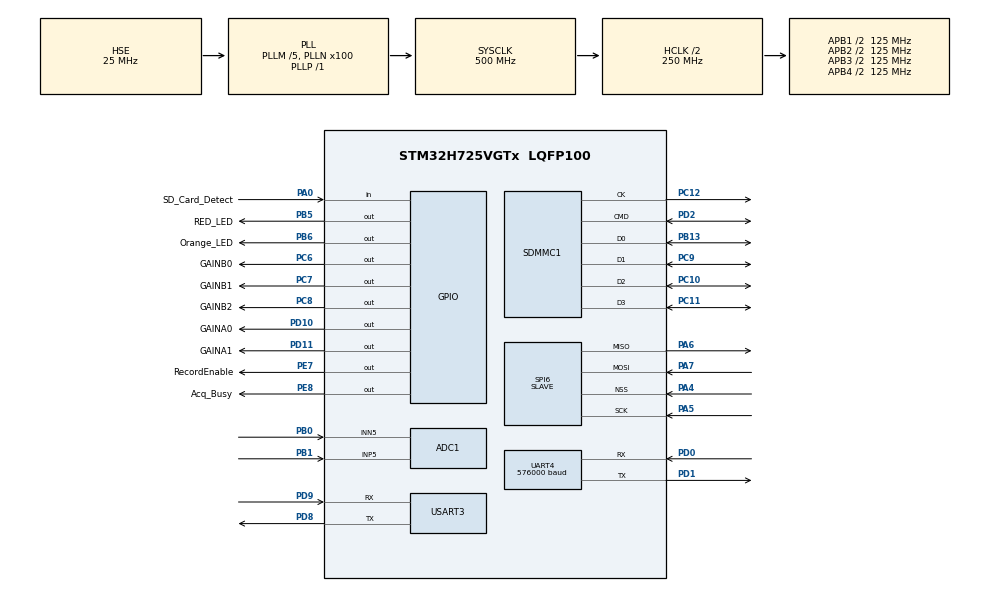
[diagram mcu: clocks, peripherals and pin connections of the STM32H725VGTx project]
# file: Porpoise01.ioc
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ADC1.Channel-0\#ChannelRegularConversion=ADC_CHANNEL_5
ADC1.ClockPrescaler=ADC_CLOCK_ASYNC_DIV4
ADC1.ContinuousConvMode=ENABLE
ADC1.ConversionDataManagement=ADC_CONVERSIONDATA_DMA_CIRCULAR
ADC1.NbrOfConversionFlag=1
ADC1.OffsetNumber-0\#ChannelRegularConversion=ADC_OFFSET_NONE
ADC1.OffsetSignedSaturation-0\#ChannelRegularConversion=DISABLE
ADC1.Rank-0\#ChannelRegularConversion=1
ADC1.SamplingTime-0\#ChannelRegularConversion=ADC_SAMPLETIME_1CYCLE_5
ADC1.SingleDiff-0\#ChannelRegularConversion=ADC_DIFFERENTIAL_ENDED
ADC1.master=1
CORTEX_M7.default_mode_Activation=1
Dma.ADC1.0.Direction=DMA_PERIPH_TO_MEMORY
Dma.ADC1.0.EventEnable=DISABLE
Dma.ADC1.0.FIFOMode=DMA_FIFOMODE_DISABLE
Dma.ADC1.0.Instance=DMA1_Stream0
Dma.ADC1.0.MemDataAlignment=DMA_MDATAALIGN_HALFWORD
Dma.ADC1.0.MemInc=DMA_MINC_ENABLE
Dma.ADC1.0.Mode=DMA_CIRCULAR
Dma.ADC1.0.PeriphDataAlignment=DMA_PDATAALIGN_HALFWORD
Dma.ADC1.0.PeriphInc=DMA_PINC_DISABLE
Dma.ADC1.0.Polarity=HAL_DMAMUX_REQ_GEN_RISING
Dma.ADC1.0.Priority=DMA_PRIORITY_HIGH
Dma.ADC1.0.RequestNumber=1
Dma.ADC1.0.SignalID=NONE
Dma.ADC1.0.SyncEnable=DISABLE
Dma.ADC1.0.SyncPolarity=HAL_DMAMUX_SYNC_NO_EVENT
Dma.ADC1.0.SyncRequestNumber=1
Dma.ADC1.0.SyncSignalID=NONE
Dma.Request0=ADC1
FATFS.BSP.number=1
FATFS.USE_DMA_CODE_SD=1
FATFS._MAX_SS=4096
FATFS._USE_CHMOD=1
FATFS._USE_FIND=1
FATFS._USE_LABEL=1
FATFS._USE_LFN=1
FATFS0.BSP.STBoard=false
FATFS0.BSP.api=Unknown
FATFS0.BSP.instance=PA0
FATFS0.BSP.ip=GPIO
FATFS0.BSP.mode=Input
FATFS0.BSP.name=Detect_SDIO
FATFS0.BSP.solution=PA0
Mcu.Family=STM32H7
Mcu.Name=STM32H725VGTx
Mcu.Package=LQFP100
Mdma.MDMA_Channel0.DMA1_Stream0_TC.0.BlockCount=0
Mdma.MDMA_Channel0.DMA1_Stream0_TC.0.BlockDataLength=0
Mdma.MDMA_Channel0.DMA1_Stream0_TC.0.BufferTransferLength=1
Mdma.MDMA_Channel0.DMA1_Stream0_TC.0.CircularMode=MDMA_LINEAR_LIST
Mdma.MDMA_Channel0.DMA1_Stream0_TC.0.DataAlignment=MDMA_DATAALIGN_PACKENABLE
Mdma.MDMA_Channel0.DMA1_Stream0_TC.0.DestBlockAddressOffset=0
Mdma.MDMA_Channel0.DMA1_Stream0_TC.0.DestBurst=MDMA_DEST_BURST_SINGLE
Mdma.MDMA_Channel0.DMA1_Stream0_TC.0.DestDataSize=MDMA_DEST_DATASIZE_BYTE
Mdma.MDMA_Channel0.DMA1_Stream0_TC.0.DestinationInc=MDMA_DEST_INC_BYTE
Mdma.MDMA_Channel0.DMA1_Stream0_TC.0.DstAddress=0
Mdma.MDMA_Channel0.DMA1_Stream0_TC.0.Endianness=MDMA_LITTLE_ENDIANNESS_PRESERVE
Mdma.MDMA_Channel0.DMA1_Stream0_TC.0.Instance=MDMA_Channel0
Mdma.MDMA_Channel0.DMA1_Stream0_TC.0.MaskAddress=0
Mdma.MDMA_Channel0.DMA1_Stream0_TC.0.MaskData=0
Mdma.MDMA_Channel0.DMA1_Stream0_TC.0.Priority=MDMA_PRIORITY_LOW
Mdma.MDMA_Channel0.DMA1_Stream0_TC.0.Rank=First
Mdma.MDMA_Channel0.DMA1_Stream0_TC.0.SourceBlockAddressOffset=0
Mdma.MDMA_Channel0.DMA1_Stream0_TC.0.SourceBurst=MDMA_SOURCE_BURST_SINGLE
Mdma.MDMA_Channel0.DMA1_Stream0_TC.0.SourceDataSize=MDMA_SRC_DATASIZE_BYTE
Mdma.MDMA_Channel0.DMA1_Stream0_TC.0.SourceInc=MDMA_SRC_INC_BYTE
Mdma.MDMA_Channel0.DMA1_Stream0_TC.0.SrcAddress=0
Mdma.MDMA_Channel0.DMA1_Stream0_TC.0.TransferTriggerMode=MDMA_BUFFER_TRANSFER
Mdma.MDMA_Channel0.Request0=DMA1_Stream0_TC
Mdma.MDMA_Channel0.RequestsNb=1
Mdma.RequestSet0=MDMA_Channel0
Mdma.RequestSetsNb=1
NVIC.ADC_IRQn=true\:0\:0\:false\:false\:true\:true\:true\:true
NVIC.DMA1_Stream0_IRQn=true\:0\:0\:false\:false\:true\:false\:true\:true
NVIC.MDMA_IRQn=true\:0\:0\:false\:false\:true\:true\:true\:true
NVIC.PriorityGroup=NVIC_PRIORITYGROUP_4
NVIC.SDMMC1_IRQn=true\:0\:0\:false\:false\:true\:true\:true\:true
NVIC.UART4_IRQn=true\:0\:0\:false\:false\:true\:true\:true\:true
PA0.GPIO_Label=SD_Card_Detect
PA0.GPIO_PuPd=GPIO_PULLDOWN
PA0.Signal=GPIO_Input
PA4.GPIO_Speed=GPIO_SPEED_FREQ_HIGH
PA4.Mode=NSS_Signal_Hard_Input
PA4.Signal=SPI6_NSS
PA5.GPIO_Speed=GPIO_SPEED_FREQ_HIGH
PA5.Mode=Full_Duplex_Slave
PA5.Signal=SPI6_SCK
PA6.GPIO_Speed=GPIO_SPEED_FREQ_HIGH
PA6.Mode=Full_Duplex_Slave
PA6.Signal=SPI6_MISO
PA7.GPIO_PuPd=GPIO_NOPULL
PA7.GPIO_Speed=GPIO_SPEED_FREQ_HIGH
PA7.Mode=Full_Duplex_Slave
PA7.Signal=SPI6_MOSI
PB0.Signal=ADCx_INN5
PB1.Signal=ADCx_INP5
PB13.Mode=SD_4_bits_Wide_bus
PB13.Signal=SDMMC1_D0
PB5.GPIO_Label=RED_LED
PB5.Signal=GPIO_Output
PB6.GPIO_Label=Orange_LED
PB6.GPIO_Speed=GPIO_SPEED_FREQ_HIGH
PB6.Signal=GPIO_Output
PC10.Mode=SD_4_bits_Wide_bus
PC10.Signal=SDMMC1_D2
PC11.Mode=SD_4_bits_Wide_bus
PC11.Signal=SDMMC1_D3
PC12.Mode=SD_4_bits_Wide_bus
PC12.Signal=SDMMC1_CK
PC14-OSC32_IN.Mode=LSE-External-Oscillator
PC14-OSC32_IN.Signal=RCC_OSC32_IN
PC15-OSC32_OUT.Mode=LSE-External-Oscillator
PC15-OSC32_OUT.Signal=RCC_OSC32_OUT
PC6.GPIO_Label=GAINB0
PC6.Signal=GPIO_Output
PC7.GPIO_Label=GAINB1
PC7.Signal=GPIO_Output
PC8.GPIO_Label=GAINB2
PC8.Signal=GPIO_Output
PC9.Mode=SD_4_bits_Wide_bus
PC9.Signal=SDMMC1_D1
PD0.Mode=Asynchronous
PD0.Signal=UART4_RX
PD1.Mode=Asynchronous
PD1.Signal=UART4_TX
PD10.GPIO_Label=GAINA0
PD10.Signal=GPIO_Output
PD11.GPIO_Label=GAINA1
PD11.Signal=GPIO_Output
PD2.Mode=SD_4_bits_Wide_bus
PD2.Signal=SDMMC1_CMD
PD8.Mode=Asynchronous
PD8.Signal=USART3_TX
PD9.Mode=Asynchronous
PD9.Signal=USART3_RX
PE7.GPIO_Label=RecordEnable
PE7.Signal=GPIO_Output
PE8.GPIO_Label=Acq_Busy
PE8.Signal=GPIO_Output
PH0-OSC_IN.Mode=HSE-External-Oscillator
PH0-OSC_IN.Signal=RCC_OSC_IN
PH1-OSC_OUT.Mode=HSE-External-Oscillator
PH1-OSC_OUT.Signal=RCC_OSC_OUT
ProjectManager.HeapSize=0x400
ProjectManager.StackSize=0x800
ProjectManager.TargetToolchain=STM32CubeIDE
RCC.ADCCLockSelection=RCC_ADCCLKSOURCE_CLKP
RCC.ADCFreq_Value=64000000
RCC.APB1Freq_Value=125000000
RCC.APB2Freq_Value=125000000
RCC.APB3Freq_Value=125000000
RCC.APB4Freq_Value=125000000
RCC.CortexFreq_Value=500000000
RCC.D1PPRE=RCC_APB3_DIV2
RCC.D2PPRE1=RCC_APB1_DIV2
RCC.D2PPRE2=RCC_APB2_DIV2
RCC.D3PPRE=RCC_APB4_DIV2
RCC.DIVM1=5
RCC.DIVM2=5
RCC.DIVN1=100
RCC.DIVN2=150
RCC.DIVP1=1
RCC.DIVQ1=1
RCC.DIVR2=6
RCC.HCLKFreq_Value=250000000
RCC.HPRE=RCC_HCLK_DIV2
RCC.PLL2FRACN=0
RCC.PLLFRACN=0
RCC.PLLSourceVirtual=RCC_PLLSOURCE_HSE
RCC.SDMMC1CLockSelection=RCC_SDMMCCLKSOURCE_PLL2
RCC.SYSCLKFreq_VALUE=500000000
RCC.SYSCLKSource=RCC_SYSCLKSOURCE_PLLCLK
RCC.USBFreq_Value=500000000
SDMMC1.ClockDiv=2
SH.ADCx_INN5.0=ADC1_INN5,IN5-Differential
SH.ADCx_INP5.0=ADC1_INP5,IN5-Differential
SPI6.CLKPhase=SPI_PHASE_1EDGE
SPI6.CLKPolarity=SPI_POLARITY_LOW
SPI6.DataSize=SPI_DATASIZE_8BIT
SPI6.Direction=SPI_DIRECTION_2LINES
SPI6.IOSwap=SPI_IO_SWAP_ENABLE
SPI6.Mode=SPI_MODE_SLAVE
SPI6.VirtualNSS=VM_NSSHARD
SPI6.VirtualType=VM_SLAVE
UART4.BaudRate=576000
USART3.VirtualMode-Asynchronous=VM_ASYNC
VP_FATFS_VS_SDIO.Mode=SDIO
VP_MEMORYMAP_VS_MEMORYMAP.Mode=CurAppReg
VP_RTC_VS_RTC_Activate.Mode=RTC_Enabled
VP_RTC_VS_RTC_Calendar.Mode=RTC_Calendar
VREF+.Mode=InternalMode
VREF+.Signal=VREFBUF_OUT
board=custom

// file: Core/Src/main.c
/* USER CODE BEGIN Header */
/**
 ******************************************************************************
 * @file           : main.c
 * @brief          : Main program body
 ******************************************************************************
 * @attention
 *
 * Copyright (c) 2023 STMicroelectronics.
 * All rights reserved.
 *
 * This software is licensed under terms that can be found in the LICENSE file
 * in the root directory of this software component.
 * If no LICENSE file comes with this software, it is provided AS-IS.
 *
 ******************************************************************************
 */
/* USER CODE END Header */
#include "main.h"
#include "fatfs.h"

/* USER CODE BEGIN Includes */
#include "stdio.h"
#include "string.h"
#include "wav.h"
/* USER CODE END Includes */

/* USER CODE BEGIN PD */
/* ADC -----------------------------------------------------------------------*/
#define ADCBUFLEN 32768
#define BUFFER_FULL 1
#define BUFFER_EMPTY 0
#define DATABLOCK_SIZE 4096   // For transferring data to and from raspi
#define MAX_LENGTH_FILENAME 250

/* USER CODE END PD */

ADC_HandleTypeDef hadc1;
DMA_HandleTypeDef hdma_adc1;

RTC_HandleTypeDef hrtc;

SD_HandleTypeDef hsd1;

SPI_HandleTypeDef hspi6;

UART_HandleTypeDef huart4;
UART_HandleTypeDef huart3;

MDMA_HandleTypeDef hmdma_mdma_channel0_dma1_stream0_tc_0;
/* USER CODE BEGIN PV */
/* ADC Variables--------------------------------------------------------------*/
uint16_t adc_buf[ADCBUFLEN];
uint16_t adc_lower_status = BUFFER_EMPTY;
uint16_t adc_upper_status = BUFFER_EMPTY;
uint32_t millisecs_to_record=0;
uint32_t end_acq_ms;
uint32_t bytes_written=0;
uint32_t bytes_read=0;
uint32_t total_bytes_written=0;
uint32_t total_blocks_written=0;
uint32_t read_value=0;
uint32_t adcbuf_index=0;

uint16_t max_save_time_ms;
uint16_t start_time_ms,ms_taken;
int ADC_overrun =0; // set as FALSE
int overrun_count;

/* SD Card FatFS Variables-----------------------------------------------------*/
FRESULT result; /* FatFs function common result code */
FILINFO fno;

FATFS *fs;
DWORD fre_clust, fre_sect, tot_sect;

BYTE work[_MAX_SS]; // for formatting SD

char *SD_Directory2;
int directory_lines=6;
char SD_space_description[150];

/* SPI Data transfer arrays ---------------------------------------------------------------*/
uint8_t SPI_input_buffer[DATABLOCK_SIZE];
uint8_t SPI_output_buffer[DATABLOCK_SIZE];

uint16_t SPI6_NCS;

/* WAV File--------------------------------------------------------------------*/
/*
 * Structure of Header and header variable
 */
typedef struct wavfile_header_s
{
	char    ChunkID[4];     /*  4   */
	uint32_t ChunkSize;      /*  4   */
	char    Format[4];      /*  4   */

	char    Subchunk1ID[4]; /*  4   */
	uint32_t Subchunk1Size;  /*  4   */
	uint16_t AudioFormat;    /*  2   */
	uint16_t NumChannels;    /*  2   */
	uint32_t SampleRate;     /*  4   */
	uint32_t ByteRate;       /*  4   */
	uint16_t BlockAlign;     /*  2   */
	uint16_t BitsPerSample;  /*  2   */

	char    Subchunk2ID[4];
	uint32_t Subchunk2Size;
} wavfile_header_t;

/* RTC Variables---------------------------------------------------------------*/
RTC_DateTypeDef gDate;
RTC_TimeTypeDef gTime;

/* USER CODE END PV */

void SystemClock_Config(void);
void PeriphCommonClock_Config(void);
static void MPU_Config(void);
static void MX_GPIO_Init(void);
static void MX_DMA_Init(void);
static void MX_MDMA_Init(void);
static void MX_ADC1_Init(void);
static void MX_RTC_Init(void);
static void MX_SDMMC1_SD_Init(void);
static void MX_UART4_Init(void);
static void MX_USART3_UART_Init(void);
static void MX_SPI6_Init(void);
/* USER CODE BEGIN PFP */
int send_to_raspi(uint8_t* dataBlock);
int read_from_raspi(uint8_t* dataBlock);
void datetime_request_handler(char* datablock);
void directory_request_handler();
FRESULT get_SD_directory (char* path);
void recording_request_handler();
int write_wav_header(int32_t SampleRate,int32_t FrameCount);
void delete_file_handler();
void transfer_request_handler();
void set_ADC_clock_prescalar(int sampling_fr);
/* USER CODE END PFP */

int main(void)
{

  /* USER CODE BEGIN 1 */
	/* ADC Testing and writing to SD Card*/
  /* USER CODE END 1 */

  /* MPU Configuration--------------------------------------------------------*/
  MPU_Config();

  /* MCU Configuration--------------------------------------------------------*/

  /* Reset of all peripherals, Initializes the Flash interface and the Systick. */
  HAL_Init();

  /* Configure the system clock */
  SystemClock_Config();

  /* Configure the peripherals common clocks */
  PeriphCommonClock_Config();

  /* Initialize all configured peripherals */
  MX_GPIO_Init();
  MX_DMA_Init();
  MX_MDMA_Init();
  MX_ADC1_Init();
  MX_RTC_Init();
  MX_SDMMC1_SD_Init();
  MX_UART4_Init();
  MX_USART3_UART_Init();
  MX_FATFS_Init();
  MX_SPI6_Init();
  /* USER CODE BEGIN 2 */
  int HAL_Status;
  const char delimiter[2] = ",";
  char *token;

	printf("\r\nProgram Start21\r\n");

	HAL_GPIO_WritePin(GAINB0_GPIO_Port, GAINB0_Pin, GPIO_PIN_SET);  /* Set get to 1 */
	HAL_GPIO_WritePin(GAINB1_GPIO_Port, GAINB1_Pin, GPIO_PIN_RESET);
	HAL_GPIO_WritePin(GAINB2_GPIO_Port, GAINB2_Pin, GPIO_PIN_RESET);

	// Let's check the file system and mount it
	f_mount(0, "", 0);
	HAL_Delay(500);
	if(f_mount(&SDFatFS, (TCHAR const*)SDPath, 0) != FR_OK)
	{
		printf("PANIC: Cannot mount SD Card\r\n");
		for(;;){}
	}

	HAL_GPIO_WritePin(Acq_Busy_GPIO_Port, Acq_Busy_Pin, GPIO_PIN_SET);  // Tell the RASPI we are Busy

	printf("\r\nLooping forever\r\n");
	for(;;){
		HAL_GPIO_WritePin(RED_LED_GPIO_Port, RED_LED_Pin, GPIO_PIN_RESET);

		do{
			HAL_Status = read_from_raspi(SPI_input_buffer);
		}
		while (HAL_Status != HAL_OK);
		HAL_GPIO_WritePin(RED_LED_GPIO_Port, RED_LED_Pin, GPIO_PIN_SET);
		token = strtok((char *)SPI_input_buffer, delimiter);

		printf("%s\r\n",token);
		if(strcmp(">DIR",token) == 0){
			printf("Doing Directory Command\r\n");
		    directory_request_handler();
		}
		else if(strcmp(">TIM",token) == 0){
			printf("Doing Date Time Command\r\n");
			datetime_request_handler(SPI_input_buffer);
		}

		else if(strcmp(">REC",token) == 0){
			printf("Doing Record Command\r\n");
			recording_request_handler();
		}

		else if(strcmp(">FMT",token) == 0){
			printf("Doing Format Command\r\n");
			result= f_mkfs("", FM_ANY, 0, work, sizeof(work));
			directory_lines=6;
		}

		else if(strcmp(">DEL",token) == 0){
			printf("Doing Delete File Command\r\n");
			delete_file_handler();
		}

		else if(strcmp(">XFR",token) == 0){
			printf("Doing Transfer File Command\r\n");
			transfer_request_handler();
		}

		else
			printf("Garbage Command\r\n");

	}

  /* USER CODE END 2 */

  /* Infinite loop */
	while (1)
	{

	}
}

void SystemClock_Config(void)
{
  RCC_OscInitTypeDef RCC_OscInitStruct = {0};
  RCC_ClkInitTypeDef RCC_ClkInitStruct = {0};

  /** Supply configuration update enable
  */
  HAL_PWREx_ConfigSupply(PWR_DIRECT_SMPS_SUPPLY);

  /** Configure the main internal regulator output voltage
  */
  __HAL_PWR_VOLTAGESCALING_CONFIG(PWR_REGULATOR_VOLTAGE_SCALE0);

  while(!__HAL_PWR_GET_FLAG(PWR_FLAG_VOSRDY)) {}

  /** Initializes the RCC Oscillators according to the specified parameters
  * in the RCC_OscInitTypeDef structure.
  */
  RCC_OscInitStruct.OscillatorType = RCC_OSCILLATORTYPE_HSI|RCC_OSCILLATORTYPE_LSI
                              |RCC_OSCILLATORTYPE_HSE;
  RCC_OscInitStruct.HSEState = RCC_HSE_ON;
  RCC_OscInitStruct.HSIState = RCC_HSI_DIV1;
  RCC_OscInitStruct.HSICalibrationValue = 64;
  RCC_OscInitStruct.LSIState = RCC_LSI_ON;
  RCC_OscInitStruct.PLL.PLLState = RCC_PLL_ON;
  RCC_OscInitStruct.PLL.PLLSource = RCC_PLLSOURCE_HSE;
  RCC_OscInitStruct.PLL.PLLM = 5;
  RCC_OscInitStruct.PLL.PLLN = 100;
  RCC_OscInitStruct.PLL.PLLP = 1;
  RCC_OscInitStruct.PLL.PLLQ = 1;
  RCC_OscInitStruct.PLL.PLLR = 2;
  RCC_OscInitStruct.PLL.PLLRGE = RCC_PLL1VCIRANGE_2;
  RCC_OscInitStruct.PLL.PLLVCOSEL = RCC_PLL1VCOWIDE;
  RCC_OscInitStruct.PLL.PLLFRACN = 0;
  if (HAL_RCC_OscConfig(&RCC_OscInitStruct) != HAL_OK)
  {
    Error_Handler();
  }

  /** Initializes the CPU, AHB and APB buses clocks
  */
  RCC_ClkInitStruct.ClockType = RCC_CLOCKTYPE_HCLK|RCC_CLOCKTYPE_SYSCLK
                              |RCC_CLOCKTYPE_PCLK1|RCC_CLOCKTYPE_PCLK2
                              |RCC_CLOCKTYPE_D3PCLK1|RCC_CLOCKTYPE_D1PCLK1;
  RCC_ClkInitStruct.SYSCLKSource = RCC_SYSCLKSOURCE_PLLCLK;
  RCC_ClkInitStruct.SYSCLKDivider = RCC_SYSCLK_DIV1;
  RCC_ClkInitStruct.AHBCLKDivider = RCC_HCLK_DIV2;
  RCC_ClkInitStruct.APB3CLKDivider = RCC_APB3_DIV2;
  RCC_ClkInitStruct.APB1CLKDivider = RCC_APB1_DIV2;
  RCC_ClkInitStruct.APB2CLKDivider = RCC_APB2_DIV2;
  RCC_ClkInitStruct.APB4CLKDivider = RCC_APB4_DIV2;

  if (HAL_RCC_ClockConfig(&RCC_ClkInitStruct, FLASH_LATENCY_3) != HAL_OK)
  {
    Error_Handler();
  }
}

void PeriphCommonClock_Config(void)
{
  RCC_PeriphCLKInitTypeDef PeriphClkInitStruct = {0};

  /** Initializes the peripherals clock
  */
  PeriphClkInitStruct.PeriphClockSelection = RCC_PERIPHCLK_CKPER;
  PeriphClkInitStruct.CkperClockSelection = RCC_CLKPSOURCE_HSI;
  if (HAL_RCCEx_PeriphCLKConfig(&PeriphClkInitStruct) != HAL_OK)
  {
    Error_Handler();
  }
}

static void MX_ADC1_Init(void)
{

  ADC_MultiModeTypeDef multimode = {0};
  ADC_ChannelConfTypeDef sConfig = {0};

  /** Common config
  */
  hadc1.Instance = ADC1;
  hadc1.Init.ClockPrescaler = ADC_CLOCK_ASYNC_DIV4;
  hadc1.Init.Resolution = ADC_RESOLUTION_16B;
  hadc1.Init.ScanConvMode = ADC_SCAN_DISABLE;
  hadc1.Init.EOCSelection = ADC_EOC_SINGLE_CONV;
  hadc1.Init.LowPowerAutoWait = DISABLE;
  hadc1.Init.ContinuousConvMode = ENABLE;
  hadc1.Init.NbrOfConversion = 1;
  hadc1.Init.DiscontinuousConvMode = DISABLE;
  hadc1.Init.ExternalTrigConv = ADC_SOFTWARE_START;
  hadc1.Init.ExternalTrigConvEdge = ADC_EXTERNALTRIGCONVEDGE_NONE;
  hadc1.Init.ConversionDataManagement = ADC_CONVERSIONDATA_DMA_CIRCULAR;
  hadc1.Init.Overrun = ADC_OVR_DATA_PRESERVED;
  hadc1.Init.LeftBitShift = ADC_LEFTBITSHIFT_NONE;
  hadc1.Init.OversamplingMode = DISABLE;
  hadc1.Init.Oversampling.Ratio = 1;
  if (HAL_ADC_Init(&hadc1) != HAL_OK)
  {
    Error_Handler();
  }

  /** Configure the ADC multi-mode
  */
  multimode.Mode = ADC_MODE_INDEPENDENT;
  if (HAL_ADCEx_MultiModeConfigChannel(&hadc1, &multimode) != HAL_OK)
  {
    Error_Handler();
  }

  /** Configure Regular Channel
  */
  sConfig.Channel = ADC_CHANNEL_5;
  sConfig.Rank = ADC_REGULAR_RANK_1;
  sConfig.SamplingTime = ADC_SAMPLETIME_1CYCLE_5;
  sConfig.SingleDiff = ADC_DIFFERENTIAL_ENDED;
  sConfig.OffsetNumber = ADC_OFFSET_NONE;
  sConfig.Offset = 0;
  sConfig.OffsetSignedSaturation = DISABLE;
  if (HAL_ADC_ConfigChannel(&hadc1, &sConfig) != HAL_OK)
  {
    Error_Handler();
  }

}

static void MX_RTC_Init(void)
{

  RTC_TimeTypeDef sTime = {0};
  RTC_DateTypeDef sDate = {0};

  /** Initialize RTC Only
  */
  hrtc.Instance = RTC;
  hrtc.Init.HourFormat = RTC_HOURFORMAT_24;
  hrtc.Init.AsynchPrediv = 127;
  hrtc.Init.SynchPrediv = 255;
  hrtc.Init.OutPut = RTC_OUTPUT_DISABLE;
  hrtc.Init.OutPutPolarity = RTC_OUTPUT_POLARITY_HIGH;
  hrtc.Init.OutPutType = RTC_OUTPUT_TYPE_OPENDRAIN;
  hrtc.Init.OutPutRemap = RTC_OUTPUT_REMAP_NONE;
  if (HAL_RTC_Init(&hrtc) != HAL_OK)
  {
    Error_Handler();
  }

  /** Initialize RTC and set the Time and Date
  */
  sTime.Hours = 0x0;
  sTime.Minutes = 0x0;
  sTime.Seconds = 0x0;
  sTime.DayLightSaving = RTC_DAYLIGHTSAVING_NONE;
  sTime.StoreOperation = RTC_STOREOPERATION_RESET;
  if (HAL_RTC_SetTime(&hrtc, &sTime, RTC_FORMAT_BCD) != HAL_OK)
  {
    Error_Handler();
  }
  sDate.WeekDay = RTC_WEEKDAY_MONDAY;
  sDate.Month = RTC_MONTH_JANUARY;
  sDate.Date = 0x1;
  sDate.Year = 0x0;

  if (HAL_RTC_SetDate(&hrtc, &sDate, RTC_FORMAT_BCD) != HAL_OK)
  {
    Error_Handler();
  }

}

static void MX_SDMMC1_SD_Init(void)
{

  hsd1.Instance = SDMMC1;
  hsd1.Init.ClockEdge = SDMMC_CLOCK_EDGE_RISING;
  hsd1.Init.ClockPowerSave = SDMMC_CLOCK_POWER_SAVE_DISABLE;
  hsd1.Init.BusWide = SDMMC_BUS_WIDE_4B;
  hsd1.Init.HardwareFlowControl = SDMMC_HARDWARE_FLOW_CONTROL_DISABLE;
  hsd1.Init.ClockDiv = 2;

}

static void MX_SPI6_Init(void)
{

  /* SPI6 parameter configuration*/
  hspi6.Instance = SPI6;
  hspi6.Init.Mode = SPI_MODE_SLAVE;
  hspi6.Init.Direction = SPI_DIRECTION_2LINES;
  hspi6.Init.DataSize = SPI_DATASIZE_8BIT;
  hspi6.Init.CLKPolarity = SPI_POLARITY_LOW;
  hspi6.Init.CLKPhase = SPI_PHASE_1EDGE;
  hspi6.Init.NSS = SPI_NSS_HARD_INPUT;
  hspi6.Init.FirstBit = SPI_FIRSTBIT_MSB;
  hspi6.Init.TIMode = SPI_TIMODE_DISABLE;
  hspi6.Init.CRCCalculation = SPI_CRCCALCULATION_DISABLE;
  hspi6.Init.CRCPolynomial = 0x0;
  hspi6.Init.NSSPMode = SPI_NSS_PULSE_DISABLE;
  hspi6.Init.NSSPolarity = SPI_NSS_POLARITY_LOW;
  hspi6.Init.FifoThreshold = SPI_FIFO_THRESHOLD_01DATA;
  hspi6.Init.TxCRCInitializationPattern = SPI_CRC_INITIALIZATION_ALL_ZERO_PATTERN;
  hspi6.Init.RxCRCInitializationPattern = SPI_CRC_INITIALIZATION_ALL_ZERO_PATTERN;
  hspi6.Init.MasterSSIdleness = SPI_MASTER_SS_IDLENESS_00CYCLE;
  hspi6.Init.MasterInterDataIdleness = SPI_MASTER_INTERDATA_IDLENESS_00CYCLE;
  hspi6.Init.MasterReceiverAutoSusp = SPI_MASTER_RX_AUTOSUSP_DISABLE;
  hspi6.Init.MasterKeepIOState = SPI_MASTER_KEEP_IO_STATE_DISABLE;
  hspi6.Init.IOSwap = SPI_IO_SWAP_ENABLE;
  if (HAL_SPI_Init(&hspi6) != HAL_OK)
  {
    Error_Handler();
  }

}

static void MX_UART4_Init(void)
{

  huart4.Instance = UART4;
  huart4.Init.BaudRate = 576000;
  huart4.Init.WordLength = UART_WORDLENGTH_8B;
  huart4.Init.StopBits = UART_STOPBITS_1;
  huart4.Init.Parity = UART_PARITY_NONE;
  huart4.Init.Mode = UART_MODE_TX_RX;
  huart4.Init.HwFlowCtl = UART_HWCONTROL_NONE;
  huart4.Init.OverSampling = UART_OVERSAMPLING_16;
  huart4.Init.OneBitSampling = UART_ONE_BIT_SAMPLE_DISABLE;
  huart4.Init.ClockPrescaler = UART_PRESCALER_DIV1;
  huart4.AdvancedInit.AdvFeatureInit = UART_ADVFEATURE_NO_INIT;
  if (HAL_UART_Init(&huart4) != HAL_OK)
  {
    Error_Handler();
  }
  if (HAL_UARTEx_SetTxFifoThreshold(&huart4, UART_TXFIFO_THRESHOLD_1_8) != HAL_OK)
  {
    Error_Handler();
  }
  if (HAL_UARTEx_SetRxFifoThreshold(&huart4, UART_RXFIFO_THRESHOLD_1_8) != HAL_OK)
  {
    Error_Handler();
  }
  if (HAL_UARTEx_DisableFifoMode(&huart4) != HAL_OK)
  {
    Error_Handler();
  }

}

static void MX_USART3_UART_Init(void)
{

  huart3.Instance = USART3;
  huart3.Init.BaudRate = 115200;
  huart3.Init.WordLength = UART_WORDLENGTH_8B;
  huart3.Init.StopBits = UART_STOPBITS_1;
  huart3.Init.Parity = UART_PARITY_NONE;
  huart3.Init.Mode = UART_MODE_TX_RX;
  huart3.Init.HwFlowCtl = UART_HWCONTROL_NONE;
  huart3.Init.OverSampling = UART_OVERSAMPLING_16;
  huart3.Init.OneBitSampling = UART_ONE_BIT_SAMPLE_DISABLE;
  huart3.Init.ClockPrescaler = UART_PRESCALER_DIV1;
  huart3.AdvancedInit.AdvFeatureInit = UART_ADVFEATURE_NO_INIT;
  if (HAL_UART_Init(&huart3) != HAL_OK)
  {
    Error_Handler();
  }
  if (HAL_UARTEx_SetTxFifoThreshold(&huart3, UART_TXFIFO_THRESHOLD_1_8) != HAL_OK)
  {
    Error_Handler();
  }
  if (HAL_UARTEx_SetRxFifoThreshold(&huart3, UART_RXFIFO_THRESHOLD_1_8) != HAL_OK)
  {
    Error_Handler();
  }
  if (HAL_UARTEx_DisableFifoMode(&huart3) != HAL_OK)
  {
    Error_Handler();
  }

}

static void MX_DMA_Init(void)
{

  /* DMA controller clock enable */
  __HAL_RCC_DMA1_CLK_ENABLE();

  /* DMA interrupt init */
  /* DMA1_Stream0_IRQn interrupt configuration */
  HAL_NVIC_SetPriority(DMA1_Stream0_IRQn, 0, 0);
  HAL_NVIC_EnableIRQ(DMA1_Stream0_IRQn);

}

/**
  * Enable MDMA controller clock
  * Configure MDMA for global transfers
  *   hmdma_mdma_channel0_dma1_stream0_tc_0
  */
static void MX_MDMA_Init(void)
{

  /* MDMA controller clock enable */
  __HAL_RCC_MDMA_CLK_ENABLE();
  /* Local variables */

  /* Configure MDMA channel MDMA_Channel0 */
  /* Configure MDMA request hmdma_mdma_channel0_dma1_stream0_tc_0 on MDMA_Channel0 */
  hmdma_mdma_channel0_dma1_stream0_tc_0.Instance = MDMA_Channel0;
  hmdma_mdma_channel0_dma1_stream0_tc_0.Init.Request = MDMA_REQUEST_DMA1_Stream0_TC;
  hmdma_mdma_channel0_dma1_stream0_tc_0.Init.TransferTriggerMode = MDMA_BUFFER_TRANSFER;
  hmdma_mdma_channel0_dma1_stream0_tc_0.Init.Priority = MDMA_PRIORITY_LOW;
  hmdma_mdma_channel0_dma1_stream0_tc_0.Init.Endianness = MDMA_LITTLE_ENDIANNESS_PRESERVE;
  hmdma_mdma_channel0_dma1_stream0_tc_0.Init.SourceInc = MDMA_SRC_INC_BYTE;
  hmdma_mdma_channel0_dma1_stream0_tc_0.Init.DestinationInc = MDMA_DEST_INC_BYTE;
  hmdma_mdma_channel0_dma1_stream0_tc_0.Init.SourceDataSize = MDMA_SRC_DATASIZE_BYTE;
  hmdma_mdma_channel0_dma1_stream0_tc_0.Init.DestDataSize = MDMA_DEST_DATASIZE_BYTE;
  hmdma_mdma_channel0_dma1_stream0_tc_0.Init.DataAlignment = MDMA_DATAALIGN_PACKENABLE;
  hmdma_mdma_channel0_dma1_stream0_tc_0.Init.BufferTransferLength = 1;
  hmdma_mdma_channel0_dma1_stream0_tc_0.Init.SourceBurst = MDMA_SOURCE_BURST_SINGLE;
  hmdma_mdma_channel0_dma1_stream0_tc_0.Init.DestBurst = MDMA_DEST_BURST_SINGLE;
  hmdma_mdma_channel0_dma1_stream0_tc_0.Init.SourceBlockAddressOffset = 0;
  hmdma_mdma_channel0_dma1_stream0_tc_0.Init.DestBlockAddressOffset = 0;
  if (HAL_MDMA_Init(&hmdma_mdma_channel0_dma1_stream0_tc_0) != HAL_OK)
  {
    Error_Handler();
  }

  /* Configure post request address and data masks */
  if (HAL_MDMA_ConfigPostRequestMask(&hmdma_mdma_channel0_dma1_stream0_tc_0, 0, 0) != HAL_OK)
  {
    Error_Handler();
  }

  /* MDMA interrupt initialization */
  /* MDMA_IRQn interrupt configuration */
  HAL_NVIC_SetPriority(MDMA_IRQn, 0, 0);
  HAL_NVIC_EnableIRQ(MDMA_IRQn);

}

static void MX_GPIO_Init(void)
{
  GPIO_InitTypeDef GPIO_InitStruct = {0};

  /* GPIO Ports Clock Enable */
  __HAL_RCC_GPIOC_CLK_ENABLE();
  __HAL_RCC_GPIOH_CLK_ENABLE();
  __HAL_RCC_GPIOA_CLK_ENABLE();
  __HAL_RCC_GPIOB_CLK_ENABLE();
  __HAL_RCC_GPIOE_CLK_ENABLE();
  __HAL_RCC_GPIOD_CLK_ENABLE();

  /*Configure GPIO pin Output Level */
  HAL_GPIO_WritePin(GPIOE, RecordEnable_Pin|Acq_Busy_Pin, GPIO_PIN_RESET);

  /*Configure GPIO pin Output Level */
  HAL_GPIO_WritePin(GPIOD, GAINA0_Pin|GAINA1_Pin, GPIO_PIN_RESET);

  /*Configure GPIO pin Output Level */
  HAL_GPIO_WritePin(GPIOC, GAINB0_Pin|GAINB1_Pin|GAINB2_Pin, GPIO_PIN_RESET);

  /*Configure GPIO pin Output Level */
  HAL_GPIO_WritePin(GPIOB, RED_LED_Pin|Orange_LED_Pin, GPIO_PIN_RESET);

  /*Configure GPIO pin : SD_Card_Detect_Pin */
  GPIO_InitStruct.Pin = SD_Card_Detect_Pin;
  GPIO_InitStruct.Mode = GPIO_MODE_INPUT;
  GPIO_InitStruct.Pull = GPIO_PULLDOWN;
  HAL_GPIO_Init(SD_Card_Detect_GPIO_Port, &GPIO_InitStruct);

  /*Configure GPIO pins : RecordEnable_Pin Acq_Busy_Pin */
  GPIO_InitStruct.Pin = RecordEnable_Pin|Acq_Busy_Pin;
  GPIO_InitStruct.Mode = GPIO_MODE_OUTPUT_PP;
  GPIO_InitStruct.Pull = GPIO_NOPULL;
  GPIO_InitStruct.Speed = GPIO_SPEED_FREQ_LOW;
  HAL_GPIO_Init(GPIOE, &GPIO_InitStruct);

  /*Configure GPIO pins : GAINA0_Pin GAINA1_Pin */
  GPIO_InitStruct.Pin = GAINA0_Pin|GAINA1_Pin;
  GPIO_InitStruct.Mode = GPIO_MODE_OUTPUT_PP;
  GPIO_InitStruct.Pull = GPIO_NOPULL;
  GPIO_InitStruct.Speed = GPIO_SPEED_FREQ_LOW;
  HAL_GPIO_Init(GPIOD, &GPIO_InitStruct);

  /*Configure GPIO pins : GAINB0_Pin GAINB1_Pin GAINB2_Pin */
  GPIO_InitStruct.Pin = GAINB0_Pin|GAINB1_Pin|GAINB2_Pin;
  GPIO_InitStruct.Mode = GPIO_MODE_OUTPUT_PP;
  GPIO_InitStruct.Pull = GPIO_NOPULL;
  GPIO_InitStruct.Speed = GPIO_SPEED_FREQ_LOW;
  HAL_GPIO_Init(GPIOC, &GPIO_InitStruct);

  /*Configure GPIO pin : RED_LED_Pin */
  GPIO_InitStruct.Pin = RED_LED_Pin;
  GPIO_InitStruct.Mode = GPIO_MODE_OUTPUT_PP;
  GPIO_InitStruct.Pull = GPIO_NOPULL;
  GPIO_InitStruct.Speed = GPIO_SPEED_FREQ_LOW;
  HAL_GPIO_Init(RED_LED_GPIO_Port, &GPIO_InitStruct);

  /*Configure GPIO pin : Orange_LED_Pin */
  GPIO_InitStruct.Pin = Orange_LED_Pin;
  GPIO_InitStruct.Mode = GPIO_MODE_OUTPUT_PP;
  GPIO_InitStruct.Pull = GPIO_NOPULL;
  GPIO_InitStruct.Speed = GPIO_SPEED_FREQ_HIGH;
  HAL_GPIO_Init(Orange_LED_GPIO_Port, &GPIO_InitStruct);

}

/* USER CODE BEGIN 4 */
int _write(int file, char *ptr, int len)
{
	(void)file;
	int DataIdx;

	for (DataIdx = 0; DataIdx < len; DataIdx++)
	{
		HAL_UART_Transmit(&huart4,(uint8_t*)ptr++,1,1);// Sending in normal mode
	}
	return len;
}

void HAL_ADC_ConvHalfCpltCallback(ADC_HandleTypeDef* hadc)
{
	adc_lower_status = BUFFER_FULL;
	if(adc_upper_status == BUFFER_FULL)  // Overflow detect
	{
		HAL_GPIO_WritePin(GPIOB, Orange_LED_Pin, GPIO_PIN_SET);
		ADC_overrun=1; //Set overrun flag
	}
}

void HAL_ADC_ConvCpltCallback(ADC_HandleTypeDef* hadc)
{
	adc_upper_status = BUFFER_FULL;
	if(adc_lower_status == BUFFER_FULL)  // Overflow detect
	{
		HAL_GPIO_WritePin(GPIOB, Orange_LED_Pin, GPIO_PIN_SET);
		ADC_overrun=1; //Set overrun flag
	}
	//
}

int send_to_raspi(uint8_t* dataBlock)
{
	HAL_GPIO_WritePin(Acq_Busy_GPIO_Port, Acq_Busy_Pin, GPIO_PIN_RESET);  // Tell RASPI we are Ready
	int HAL_Status = HAL_SPI_Transmit(&hspi6, dataBlock, DATABLOCK_SIZE, 100);  // send DATABLOCK_SIZE bytes to the RASPI
	HAL_GPIO_WritePin(Acq_Busy_GPIO_Port, Acq_Busy_Pin, GPIO_PIN_SET);  // Tell the RASPI we are Busy
	return HAL_Status;
	}

int read_from_raspi(uint8_t* dataBlock)
{
	HAL_GPIO_WritePin(Acq_Busy_GPIO_Port, Acq_Busy_Pin, GPIO_PIN_RESET);  // Tell RASPI we are Ready
	int HAL_Status = HAL_SPI_Receive(&hspi6, dataBlock, DATABLOCK_SIZE, 1000);  // get DATABLOCK_SIZE bytes from the RASPI
	HAL_GPIO_WritePin(Acq_Busy_GPIO_Port, Acq_Busy_Pin, GPIO_PIN_SET);  // Tell the RASPI we are Busy
	return HAL_Status;
}

void directory_request_handler()
{
	char full_path_name[MAX_LENGTH_FILENAME];

	HAL_RTC_GetTime(&hrtc, &gTime, RTC_FORMAT_BIN);				/* Get the RTC current Date */
	HAL_RTC_GetDate(&hrtc, &gDate, RTC_FORMAT_BIN);				/* Display time Format: hh:mm:ss */
	printf("RTC Date Time  %02d:%02d:%02d  %02d-%02d-%2d\r\n",gTime.Hours, gTime.Minutes, gTime.Seconds,gDate.Month,gDate.Date,2000 + gDate.Year);				/* Display date Format: dd-mm-yy */

	/* allocate memory for directory listing */
	SD_Directory2 = malloc( 100 * directory_lines++ );

	if( SD_Directory2 == NULL ) {
		printf("PANIC: unable to allocate required memory\r\n");
	}
	/* Get volume information and free clusters of drive 1 */
	result = f_getfree("0:", &fre_clust, &fs);
	if (result!= FR_OK){
		printf("PANIC: unable to determine free space on SD\r\n");
	}
	/* Get total sectors and free sectors */
	tot_sect = (fs->n_fatent - 2) * fs->csize;
	fre_sect = fre_clust * fs->csize;
	/* Print free space in unit of KB (assuming 512 bytes/sector) */
	sprintf(SD_space_description,"%lu KB total drive space.     %lu KB available.\r\n",tot_sect / 2, fre_sect / 2);
	strcpy( SD_Directory2, SD_space_description);

	/* Get directory contents */
	strcpy(full_path_name, "/");

	result= get_SD_directory(full_path_name);
	//printf("%s", SD_Directory2);
	strcat( SD_Directory2, "\f");

	/* Send directory content to raspi */
	int buffer_index=0;
	do{
		SPI_output_buffer[buffer_index]= (uint8_t)SD_Directory2[buffer_index];
	}
	while(SD_Directory2[buffer_index++] != 12);
	send_to_raspi(SPI_output_buffer);

	printf("Directory Uploaded\r\n");
	free(SD_Directory2);
	directory_lines=5;

}

FRESULT get_SD_directory (char* path)        /* Start node to be scanned (***also used as work area***) */
{
	FRESULT res;
	DIR dir;
	UINT i;
	static FILINFO fno;
	char this_file[MAX_LENGTH_FILENAME];

	res = f_opendir(&dir, path);                       /* Open the directory */
	if (res == FR_OK) {
		for (;;) {
			res = f_readdir(&dir, &fno);                   /* Read a directory item */
			if (res != FR_OK || fno.fname[0] == 0) break;  /* Break on error or end of dir */
			if (fno.fattrib & AM_DIR) {                    /* It is a directory */
				i = strlen(path);
				sprintf(&path[i], "/%s", fno.fname);
				res = get_SD_directory(path);                    /* Enter the directory */
				if (res != FR_OK) break;
				path[i] = 0;
			} else {                                       /* It is a file. */
				sprintf(&this_file[0],"%s/%s\t%ld\t%u-%02u-%02u\t%02u:%02u\r\n", path, fno.fname,fno.fsize,(fno.fdate >> 9) + 1980, fno.fdate >> 5 & 15, fno.fdate & 31,fno.ftime >> 11, fno.ftime >> 5 & 63);
				SD_Directory2 = realloc(SD_Directory2, 100 * directory_lines++ );
				if( SD_Directory2 == NULL ) {
					printf("PANIC: unable to allocate required memory\r\n");
				} else {
					strcat( SD_Directory2, this_file);
				}
			}
		}
		f_closedir(&dir);
	}
	return res;
}
void datetime_request_handler(char* datablock ){
	const char delimiter[2] = ",";

	RTC_TimeTypeDef sTime;
	RTC_DateTypeDef sDate;

	sTime.Hours = (uint8_t)atoi(strtok(NULL, delimiter)); // set hours
	sTime.Minutes = (uint8_t)atoi(strtok(NULL, delimiter)); // set minutes
	sTime.Seconds = (uint8_t)atoi(strtok(NULL, delimiter)); // set seconds
	sTime.DayLightSaving = RTC_DAYLIGHTSAVING_NONE;
	sTime.StoreOperation = RTC_STOREOPERATION_RESET;
	if (HAL_RTC_SetTime(&hrtc, &sTime, RTC_FORMAT_BIN) != HAL_OK)
	{
		printf("FAIL: Problem setting time\r\n");
	}
	sDate.WeekDay = (uint8_t)atoi(strtok(NULL, delimiter));
	sDate.Month = (uint8_t)atoi(strtok(NULL, delimiter));
	sDate.Date = (uint8_t)atoi(strtok(NULL, delimiter)); // date
	sDate.Year = (uint8_t)atoi(strtok(NULL, delimiter)); // year
	if (HAL_RTC_SetDate(&hrtc, &sDate, RTC_FORMAT_BIN) != HAL_OK)
	{
		printf("FAIL: Problem setting date\r\n");
	}
	HAL_RTCEx_BKUPWrite(&hrtc, RTC_BKP_DR1, 0x32F2); // backup register
	printf("DateTime Set Complete\r\n");
}

void transfer_request_handler(){
	const char delimiter[2] = ",";
	char *file_to_be_transferred;
	file_to_be_transferred = strtok(NULL, delimiter);

	printf("opening file %s to transfer\r\n", file_to_be_transferred);
	if(f_open(&SDFile, file_to_be_transferred, FA_READ) != FR_OK)  				//Open file for reading and uploading
	{
		printf("FAIL: Cannot open file for reading uploading\r\n");
	}
	else
	{
		while(!f_eof(&SDFile)){
			result = f_read(&SDFile, SPI_output_buffer,DATABLOCK_SIZE, (void *)&bytes_read);
			if((bytes_read == 0) || (result != FR_OK))
			{
				printf("FAIL: Cannot read file to save upload\r\n");
			}
			else
			{
				send_to_raspi(SPI_output_buffer);
			}
		}
	    printf("%s Uploaded\r\n",file_to_be_transferred);
	}
	f_close(&SDFile);
}

void delete_file_handler(){
	const char delimiter[2] = ",";
	char *file_to_be_deleted;
	file_to_be_deleted = strtok(NULL, delimiter);

	printf("deleting file %s\r\n", file_to_be_deleted);
	if(f_unlink(file_to_be_deleted) != FR_OK)  				//delete file
	{
		printf("FAIL: Cannot delete file\r\n");
	}
	else{
		printf("%s Deleted\r\n",file_to_be_deleted);
	}
}

void recording_request_handler(){
	char fullfilename[MAX_LENGTH_FILENAME];

	HAL_RTC_GetTime(&hrtc, &gTime, RTC_FORMAT_BIN);				/* Get the RTC current Date */
	HAL_RTC_GetDate(&hrtc, &gDate, RTC_FORMAT_BIN);				/* Display time Format: hh:mm:ss */
	printf("RTC Date Time  %02d:%02d:%02d  %02d-%02d-%2d\r\n",gTime.Hours, gTime.Minutes, gTime.Seconds,gDate.Month,gDate.Date,2000 + gDate.Year);				/* Display date Format: dd-mm-yy */

	const char delimiter[2] = ",";
	char *file_to_be_recorded;
	int sampling_frequency_kHz = atoi(strtok(NULL, delimiter));
	int gain = atoi(strtok(NULL, delimiter));
	uint32_t millisecs_to_record = atoi(strtok(NULL, delimiter))*1000;
	file_to_be_recorded = strtok(NULL, delimiter);

	//HAL_GPIO_WritePin(GPIOC, GAINA0_Pin, gain & 0x01);      // Not setting gain for transducer preamp at this time
	//HAL_GPIO_WritePin(GPIOC, GAINA1_Pin, gain>>1 & 0x01);

	HAL_GPIO_WritePin(GPIOC, GAINB0_Pin, gain & 0x01);  // Set gain for onboard preamp
	HAL_GPIO_WritePin(GPIOC, GAINB1_Pin, gain>>1 & 0x01);
	HAL_GPIO_WritePin(GPIOC, GAINB2_Pin, gain>>2 & 0x01);

	HAL_GPIO_WritePin(GPIOB, Orange_LED_Pin, GPIO_PIN_RESET);  // Clear overrun LED

	printf("Record: Sampling %3dkHz  Gain %1d   Duration %lumS  %s \r\n", sampling_frequency_kHz, gain, millisecs_to_record,file_to_be_recorded);

	if(f_open(&SDFile, file_to_be_recorded, FA_CREATE_ALWAYS | FA_WRITE) != FR_OK)  //Open file for writing (Create)
	{
		printf("FAIL: Cannot open file for recording\r\n");
	}
	else
	{
		write_wav_header(sampling_frequency_kHz*1000,sampling_frequency_kHz*millisecs_to_record); 							// Write WAV Header Sampling at 786000 Hz
		for(adcbuf_index=0;adcbuf_index < ADCBUFLEN;adcbuf_index++) // Clear ADC Buffer
		{
			adc_buf[adcbuf_index]=0;
		}
		total_blocks_written=0;
		total_bytes_written=0;
		adc_lower_status = BUFFER_EMPTY;
		adc_upper_status = BUFFER_EMPTY;
		overrun_count=0;
		max_save_time_ms=0;
		//HAL_GPIO_WritePin(RED_LED_GPIO_Port, RED_LED_Pin, GPIO_PIN_RESET);
		set_ADC_clock_prescalar(sampling_frequency_kHz);
		HAL_ADC_Start_DMA(&hadc1, (uint32_t*)adc_buf, ADCBUFLEN); 	// Enable ADC DMA and add contents
		end_acq_ms=uwTick+millisecs_to_record;
		do{
			if(adc_lower_status == BUFFER_FULL)
			{
				HAL_GPIO_WritePin(GPIOE, RecordEnable_Pin, GPIO_PIN_RESET);
				start_time_ms=uwTick;
				f_write(&SDFile, &adc_buf[0], ADCBUFLEN, (void *)&bytes_written);
				ms_taken=uwTick-start_time_ms;
				if(ms_taken > max_save_time_ms){
					max_save_time_ms = ms_taken;
				}
				total_bytes_written = total_bytes_written+bytes_written;
				adc_lower_status = BUFFER_EMPTY;
				total_blocks_written++;
				if(ADC_overrun){
					HAL_ADC_Stop_DMA(&hadc1);
					f_write(&SDFile, &adc_buf[ADCBUFLEN/2], ADCBUFLEN, (void *)&bytes_written);
					total_bytes_written = total_bytes_written+bytes_written;
					adc_upper_status = BUFFER_EMPTY;
					total_blocks_written++;
					ADC_overrun=0;
					overrun_count++;
					HAL_ADC_Start_DMA(&hadc1, (uint32_t*)adc_buf, ADCBUFLEN); 	// Enable ADC DMA and add contents
				}
			}
			if(adc_upper_status == BUFFER_FULL)
			{
				HAL_GPIO_WritePin(GPIOE, RecordEnable_Pin, GPIO_PIN_SET);
				start_time_ms=uwTick;
				f_write(&SDFile, &adc_buf[ADCBUFLEN/2], ADCBUFLEN, (void *)&bytes_written);
				ms_taken=uwTick-start_time_ms;
				if(ms_taken > max_save_time_ms){
					max_save_time_ms = ms_taken;
				}
				total_bytes_written = total_bytes_written+bytes_written;
				adc_upper_status = BUFFER_EMPTY;
				total_blocks_written++;
				if(ADC_overrun){
					HAL_ADC_Stop_DMA(&hadc1);
					f_write(&SDFile, &adc_buf[0], ADCBUFLEN, (void *)&bytes_written);
					total_bytes_written = total_bytes_written+bytes_written;
					adc_lower_status = BUFFER_EMPTY;
					total_blocks_written++;
					ADC_overrun=0;
					overrun_count++;
					HAL_ADC_Start_DMA(&hadc1, (uint32_t*)adc_buf, ADCBUFLEN); 	// Enable ADC DMA and add contents
				}
			}
		}
		while(uwTick< end_acq_ms);
		HAL_ADC_Stop_DMA(&hadc1);   								// Halt ADC DMA

		// Now update WAV file with data length
		f_lseek(&SDFile,0x28);
		f_write(&SDFile,&total_bytes_written, 4, (void *)&bytes_written);

		f_close(&SDFile);  											// Writing complete so close file
		printf("Total Blocks Written %lu  Total Bytes Written %lu MaxSaveTime %d  Overruns %d\r\n",total_blocks_written,total_bytes_written,max_save_time_ms,overrun_count);
		printf("Recording Complete\r\n");

		strcpy(fullfilename,"//");
		strcat(fullfilename,file_to_be_recorded);
		HAL_RTC_GetTime(&hrtc, &gTime, RTC_FORMAT_BIN);				/* Get the RTC current Date */
		HAL_RTC_GetDate(&hrtc, &gDate, RTC_FORMAT_BIN);				/* Display time Format: hh:mm:ss */
		fno.fdate = (WORD)(((gDate.Year+20) * 512U) | gDate.Month * 32U | gDate.Date);
		fno.ftime = (WORD)(gTime.Hours * 2048U | gTime.Minutes * 32U | gTime.Seconds / 2U);
		result=f_utime(fullfilename, &fno);
	}
}

/*
 * Function to write header of WAV file
 */
/*Return 0 on success and -1 on failure*/
int write_wav_header(int32_t SampleRate,int32_t FrameCount)
{
	int ret=0;

	struct wavfile_header_s wav_header;
	int32_t subchunk2_size;
	int32_t chunk_size;

	//    size_t write_count;

	uint32_t bytes_written=0;

	FRESULT result; /* FatFs function common result code */

	subchunk2_size  = FrameCount * NUM_CHANNELS * BITS_PER_SAMPLE / 8;
	chunk_size      = 4 + (8 + SUBCHUNK1SIZE) + (8 + subchunk2_size);

	wav_header.ChunkID[0] = 'R';
	wav_header.ChunkID[1] = 'I';
	wav_header.ChunkID[2] = 'F';
	wav_header.ChunkID[3] = 'F';

	wav_header.ChunkSize = chunk_size;

	wav_header.Format[0] = 'W';
	wav_header.Format[1] = 'A';
	wav_header.Format[2] = 'V';
	wav_header.Format[3] = 'E';

	wav_header.Subchunk1ID[0] = 'f';
	wav_header.Subchunk1ID[1] = 'm';
	wav_header.Subchunk1ID[2] = 't';
	wav_header.Subchunk1ID[3] = ' ';

	wav_header.Subchunk1Size = SUBCHUNK1SIZE;
	wav_header.AudioFormat = AUDIO_FORMAT;
	wav_header.NumChannels = NUM_CHANNELS;
	wav_header.SampleRate = SampleRate;
	wav_header.ByteRate = SampleRate <<1;
	wav_header.BlockAlign = BLOCK_ALIGN;
	wav_header.BitsPerSample = BITS_PER_SAMPLE;

	wav_header.Subchunk2ID[0] = 'd';
	wav_header.Subchunk2ID[1] = 'a';
	wav_header.Subchunk2ID[2] = 't';
	wav_header.Subchunk2ID[3] = 'a';
	wav_header.Subchunk2Size = subchunk2_size;

	printf("chunk_size %ld %lx\r\n", chunk_size,chunk_size);
	printf("subchunk2_size %ld %lx\r\n", subchunk2_size,subchunk2_size);
	//Open file for writing (Create)
	result = f_write(&SDFile, &wav_header, sizeof(wavfile_header_t), (void *)&bytes_written);
	if((bytes_written == 0) || (result != FR_OK))
	{
		Error_Handler();
	}

	// Flush the file buffers
	result = f_sync(&SDFile);
	if(result != FR_OK)
	{
		Error_Handler();
	}
	return ret;
}

void set_ADC_clock_prescalar(int sampling_fr){
	ADC_MultiModeTypeDef multimode = {0};
	switch(sampling_fr){
	case 800:
		hadc1.Init.ClockPrescaler = ADC_CLOCK_ASYNC_DIV4;
		break;
	case 533:
		hadc1.Init.ClockPrescaler = ADC_CLOCK_ASYNC_DIV6;
		break;
	case 400:
		hadc1.Init.ClockPrescaler = ADC_CLOCK_ASYNC_DIV8;
		break;
	case 320:
		hadc1.Init.ClockPrescaler = ADC_CLOCK_ASYNC_DIV10;
		break;
	case 266:
		hadc1.Init.ClockPrescaler = ADC_CLOCK_ASYNC_DIV12;
		break;
	case 200:
		hadc1.Init.ClockPrescaler = ADC_CLOCK_ASYNC_DIV16;
		break;
	case 100:
		hadc1.Init.ClockPrescaler = ADC_CLOCK_ASYNC_DIV32;
		break;
	case 50:
		hadc1.Init.ClockPrescaler = ADC_CLOCK_ASYNC_DIV64;
		break;
	case 25:
		hadc1.Init.ClockPrescaler = ADC_CLOCK_ASYNC_DIV128;
		break;
	case 12:
		hadc1.Init.ClockPrescaler = ADC_CLOCK_ASYNC_DIV256;
		break;
	}
	if (HAL_ADC_Init(&hadc1) != HAL_OK)
	{
		Error_Handler();
	}

	/** Configure the ADC multi-mode
	 */
	multimode.Mode = ADC_MODE_INDEPENDENT;
	if (HAL_ADCEx_MultiModeConfigChannel(&hadc1, &multimode) != HAL_OK)
	{
		Error_Handler();
	}

}

/* USER CODE END 4 */

 /* MPU Configuration */

void MPU_Config(void)
{
  MPU_Region_InitTypeDef MPU_InitStruct = {0};

  /* Disables the MPU */
  HAL_MPU_Disable();

  /** Initializes and configures the Region and the memory to be protected
  */
  MPU_InitStruct.Enable = MPU_REGION_ENABLE;
  MPU_InitStruct.Number = MPU_REGION_NUMBER0;
  MPU_InitStruct.BaseAddress = 0x0;
  MPU_InitStruct.Size = MPU_REGION_SIZE_4GB;
  MPU_InitStruct.SubRegionDisable = 0x87;
  MPU_InitStruct.TypeExtField = MPU_TEX_LEVEL0;
  MPU_InitStruct.AccessPermission = MPU_REGION_NO_ACCESS;
  MPU_InitStruct.DisableExec = MPU_INSTRUCTION_ACCESS_DISABLE;
  MPU_InitStruct.IsShareable = MPU_ACCESS_SHAREABLE;
  MPU_InitStruct.IsCacheable = MPU_ACCESS_NOT_CACHEABLE;
  MPU_InitStruct.IsBufferable = MPU_ACCESS_NOT_BUFFERABLE;

  HAL_MPU_ConfigRegion(&MPU_InitStruct);
  /* Enables the MPU */
  HAL_MPU_Enable(MPU_PRIVILEGED_DEFAULT);

}

void Error_Handler(void)
{
	__disable_irq();
	while (1)
	{
	}
}
